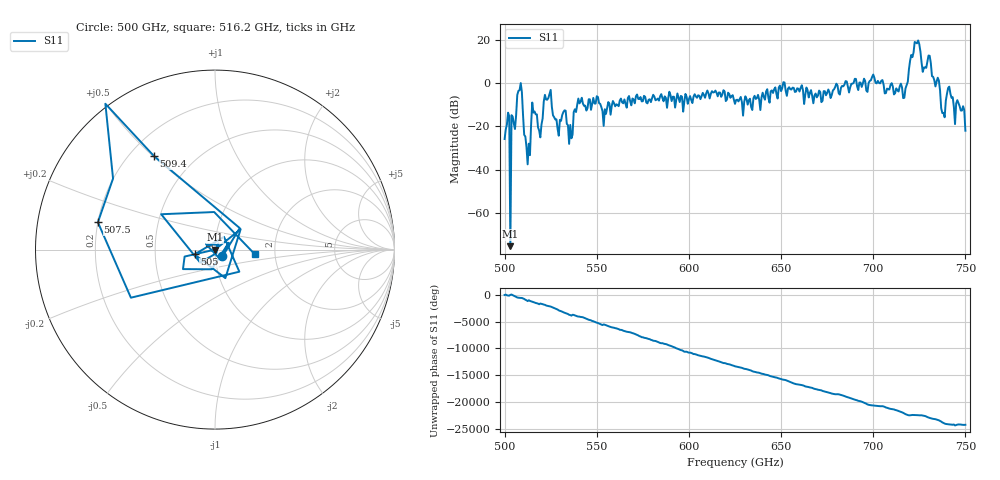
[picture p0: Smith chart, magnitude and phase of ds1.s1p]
# GHz S RI R 50
!freq	ReS11	ImS11
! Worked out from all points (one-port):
!   401 points, 500 GHz to 750 GHz, reference 50 ohm
!   lowest |S11| = -75.5 dB at 503.1 GHz (marker M1), VSWR 1.00, Z = 50 - j0.00552 ohm
!   |S11| at or under -10 dB: start of sweep to 506.6 GHz; 515.1 GHz to 521.1 GHz (5.979 GHz wide, 1.15 % of centre); 525.6 GHz to 539.4 GHz (13.82 GHz wide, 2.6 % of centre) (the widest 3 of 21)
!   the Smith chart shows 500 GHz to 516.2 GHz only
!   S11 on the Smith chart (normalised r, x): 500 GHz: 1.08, -0.07; 505 GHz: 0.79, -0.04; 507.5 GHz: 0.20, +0.11; 509.4 GHz: 0.30, +0.50; 516.2 GHz: 1.56, -0.08
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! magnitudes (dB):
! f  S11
! 500 GHz  -25.8
! 501.2 GHz  -19.1
! 501.9 GHz  -13.6
! 503.1 GHz  -75.5
! 504.4 GHz  -15.4
! 505 GHz  -18.7
! 507.5 GHz  -3.5
! 509.4 GHz  -4.1
! 512.5 GHz  -37.6
! 516.2 GHz  -13.1
! 519.4 GHz  -25.1
! 523.8 GHz  -6.8
! 528.1 GHz  -16.7
! 531.2 GHz  -14.7
! 535.6 GHz  -19.3
! 540.6 GHz  -9.3
! 562.5 GHz  -7.9
! 593.8 GHz  -4.7
! 625 GHz  -9.5
! 656.2 GHz  -2.0
! 687.5 GHz  -1.9
! 716.9 GHz  -6.7
! 718.8 GHz  0.7
! 723.8 GHz  18.5
! 730.6 GHz  12.8
! 738.1 GHz  -13.7
! 741.2 GHz  -1.5
! 750 GHz  -22.0
